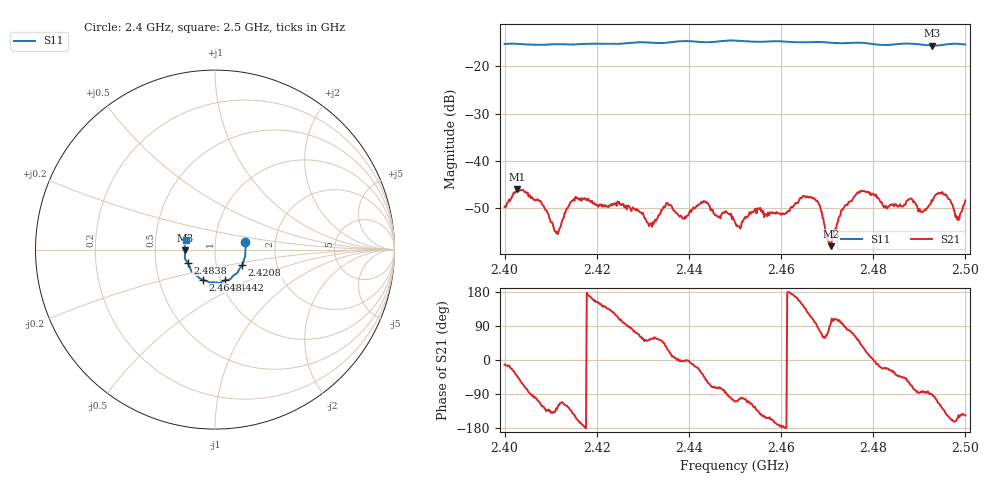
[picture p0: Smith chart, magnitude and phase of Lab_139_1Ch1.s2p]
# Hz S RI R 50
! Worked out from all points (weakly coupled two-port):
!   601 points, 2.4 GHz to 2.5 GHz, reference 50 ohm
!   highest |S21| = -45.98 dB at 2.4027 GHz (marker M1); lowest = -58.0 dB at 2.4708 GHz (marker M2)
!   lowest |S11| = -15.6 dB at 2.4928 GHz (marker M3), VSWR 1.40, Z = 35.8 - j0.361 ohm
!   |S11| at or under -10 dB: start of sweep to end of sweep
!   S12 and S22 are empty: the file has one direction only
!   S11 on the Smith chart (normalised r, x): 2.4 GHz: 1.40, +0.12; 2.4208 GHz: 1.33, -0.24; 2.4442 GHz: 1.05, -0.37; 2.4648 GHz: 0.83, -0.29; 2.4838 GHz: 0.73, -0.11; 2.5 GHz: 0.72, +0.08
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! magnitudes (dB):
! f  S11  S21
! 2.4 GHz  -15.3  -49.7
! 2.4027 GHz  -15.2  -46.0
! 2.4077 GHz  -15.4  -48.4
! 2.4113 GHz  -15.3  -54.9
! 2.4145 GHz  -15.4  -48.4
! 2.4167 GHz  -15.2  -48.4
! 2.4208 GHz  -15.2  -49.1
! 2.4333 GHz  -15.0  -51.5
! 2.4355 GHz  -14.9  -49.1
! 2.4442 GHz  -14.9  -48.9
! 2.45 GHz  -14.5  -53.0
! 2.4648 GHz  -14.9  -47.3
! 2.4667 GHz  -14.8  -47.8
! 2.4708 GHz  -15.0  -58.0
! 2.4735 GHz  -15.1  -50.0
! 2.4768 GHz  -15.0  -46.4
! 2.4833 GHz  -15.5  -49.6
! 2.4838 GHz  -15.4  -49.2
! 2.4928 GHz  -15.6  -48.5
! 2.4955 GHz  -15.4  -47.2
! 2.4983 GHz  -15.2  -51.8
! 2.5 GHz  -15.4  -48.3
